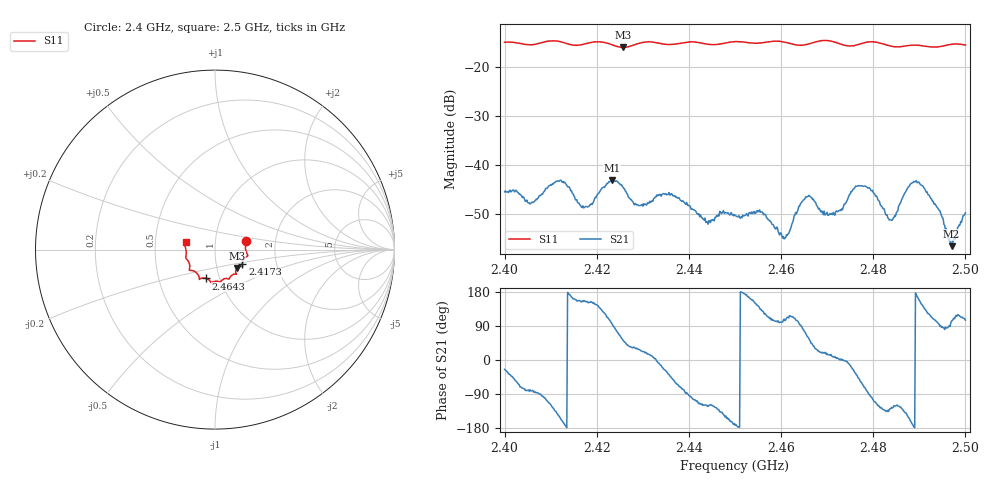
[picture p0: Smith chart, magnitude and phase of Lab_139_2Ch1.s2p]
# Hz S RI R 50
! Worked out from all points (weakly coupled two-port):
!   601 points, 2.4 GHz to 2.5 GHz, reference 50 ohm
!   highest |S21| = -43.06 dB at 2.4233 GHz (marker M1); lowest = -56.6 dB at 2.497 GHz (marker M2)
!   lowest |S11| = -15.9 dB at 2.4257 GHz (marker M3), VSWR 1.38, Z = 62.4 - j13.1 ohm
!   |S11| at or under -10 dB: start of sweep to end of sweep
!   S12 and S22 are empty: the file has one direction only
!   S11 on the Smith chart (normalised r, x): 2.4 GHz: 1.41, +0.14; 2.4173 GHz: 1.34, -0.23; 2.4643 GHz: 0.86, -0.28; 2.5 GHz: 0.72, +0.06
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2.4e9  0.1734 0.0495  0.00484 -0.00223  0 0  0 0
2.405833e9  0.17 0.00289  0.000607 -0.00412  0 0  0 0
2.412167e9  0.1788 -0.0369  -0.00632 -0.00303  0 0  0 0
2.416667e9  0.1528 -0.0748  -0.00332 0.00169  0 0  0 0
2.417333e9  0.1523 -0.0821  -0.00338 0.00151  0 0  0 0
2.423333e9  0.1422 -0.0933  -0.000558 0.00701  0 0  0 0
2.425667e9  0.1224 -0.1024  0.00359 0.00476  0 0  0 0
2.429e9  0.1158 -0.1312  0.00341 0.00187  0 0  0 0
2.433333e9  0.1128 -0.1366  0.0049 -0.000683  0 0  0 0
2.444167e9  0.0614 -0.1604  -0.00133 -0.00211  0 0  0 0
2.45e9  0.0297 -0.1808  -0.00302 -0.000436  0 0  0 0
2.4555e9  -0.00282 -0.1773  -0.00228 0.00238  0 0  0 0
2.460833e9  -0.0252 -0.1789  -0.000432 0.00174  0 0  0 0
2.464333e9  -0.0501 -0.1604  -6.14e-06 0.00409  0 0  0 0
2.466667e9  -0.0762 -0.1598  0.00336 0.00321  0 0  0 0
2.471167e9  -0.0871 -0.1618  0.00308 0.000479  0 0  0 0
2.478e9  -0.135 -0.1161  0.00192 -0.00578  0 0  0 0
2.483333e9  -0.1406 -0.0896  -0.00204 -0.00198  0 0  0 0
2.4895e9  -0.1627 -0.0437  -0.00649 0.00133  0 0  0 0
2.494167e9  -0.1621 0.000689  -0.000315 0.00352  0 0  0 0
2.497e9  -0.1701 0.0263  -0.000335 0.00145  0 0  0 0
2.5e9  -0.1636 0.0419  -0.000854 0.00315  0 0  0 0
